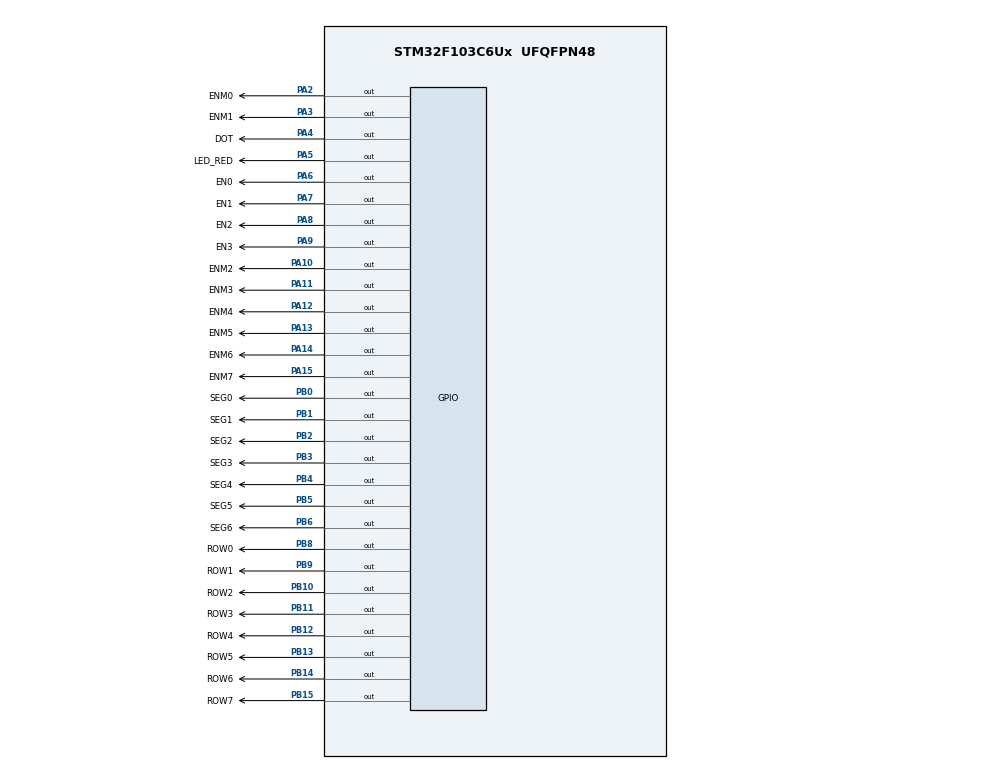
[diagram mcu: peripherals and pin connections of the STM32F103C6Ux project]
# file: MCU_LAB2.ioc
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Mcu.Family=STM32F1
Mcu.Name=STM32F103C6Ux
Mcu.Package=UFQFPN48
NVIC.PriorityGroup=NVIC_PRIORITYGROUP_4
NVIC.TIM2_IRQn=true\:0\:0\:false\:false\:true\:true\:true\:true
PA10.GPIO_Label=ENM2
PA10.Signal=GPIO_Output
PA11.GPIO_Label=ENM3
PA11.Signal=GPIO_Output
PA12.GPIO_Label=ENM4
PA12.Signal=GPIO_Output
PA13.GPIO_Label=ENM5
PA13.Signal=GPIO_Output
PA14.GPIO_Label=ENM6
PA14.Signal=GPIO_Output
PA15.GPIO_Label=ENM7
PA15.Signal=GPIO_Output
PA2.GPIO_Label=ENM0
PA2.Signal=GPIO_Output
PA3.GPIO_Label=ENM1
PA3.Signal=GPIO_Output
PA4.GPIO_Label=DOT
PA4.Signal=GPIO_Output
PA5.GPIO_Label=LED_RED
PA5.Signal=GPIO_Output
PA6.GPIO_Label=EN0
PA6.Signal=GPIO_Output
PA7.GPIO_Label=EN1
PA7.Signal=GPIO_Output
PA8.GPIO_Label=EN2
PA8.Signal=GPIO_Output
PA9.GPIO_Label=EN3
PA9.Signal=GPIO_Output
PB0.GPIO_Label=SEG0
PB0.Signal=GPIO_Output
PB1.GPIO_Label=SEG1
PB1.Signal=GPIO_Output
PB10.GPIO_Label=ROW2
PB10.Signal=GPIO_Output
PB11.GPIO_Label=ROW3
PB11.Signal=GPIO_Output
PB12.GPIO_Label=ROW4
PB12.Signal=GPIO_Output
PB13.GPIO_Label=ROW5
PB13.Signal=GPIO_Output
PB14.GPIO_Label=ROW6
PB14.Signal=GPIO_Output
PB15.GPIO_Label=ROW7
PB15.Signal=GPIO_Output
PB2.GPIO_Label=SEG2
PB2.Signal=GPIO_Output
PB3.GPIO_Label=SEG3
PB3.Signal=GPIO_Output
PB4.GPIO_Label=SEG4
PB4.Signal=GPIO_Output
PB5.GPIO_Label=SEG5
PB5.Signal=GPIO_Output
PB6.GPIO_Label=SEG6
PB6.Signal=GPIO_Output
PB8.GPIO_Label=ROW0
PB8.Signal=GPIO_Output
PB9.GPIO_Label=ROW1
PB9.Signal=GPIO_Output
ProjectManager.HeapSize=0x200
ProjectManager.StackSize=0x400
ProjectManager.TargetToolchain=STM32CubeIDE
RCC.APB1Freq_Value=8000000
RCC.APB2Freq_Value=8000000
TIM2.Period=9
TIM2.Prescaler=7999
VP_TIM2_VS_ClockSourceINT.Mode=Internal
board=custom

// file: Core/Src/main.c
/* USER CODE BEGIN Header */
/**
  ******************************************************************************
  * @file           : main.c
  * @brief          : Main program body
  ******************************************************************************
  * @attention
  *
  * Copyright (c) 2023 STMicroelectronics.
  * All rights reserved.
  *
  * This software is licensed under terms that can be found in the LICENSE file
  * in the root directory of this software component.
  * If no LICENSE file comes with this software, it is provided AS-IS.
  *
  ******************************************************************************
  */
/* USER CODE END Header */
#include "main.h"

/* USER CODE BEGIN Includes */
#include "software_timer.h"
/* USER CODE END Includes */

TIM_HandleTypeDef htim2;

void SystemClock_Config(void);
static void MX_GPIO_Init(void);
static void MX_TIM2_Init(void);
/* USER CODE BEGIN PFP */
void display7SEG(int);
void update7SEG (int);
void updateClockBuffer(int, int);
/* USER CODE END PFP */

/* USER CODE BEGIN 0 */
void display7SEG(int num){
	// 0/RESET = ON, 1/SET = OFF
	switch(num){
	case 0:
		HAL_GPIO_WritePin(GPIOB, SEG0_Pin, GPIO_PIN_RESET);
		HAL_GPIO_WritePin(GPIOB, SEG1_Pin, GPIO_PIN_RESET);
		HAL_GPIO_WritePin(GPIOB, SEG2_Pin, GPIO_PIN_RESET);
		HAL_GPIO_WritePin(GPIOB, SEG3_Pin, GPIO_PIN_RESET);
		HAL_GPIO_WritePin(GPIOB, SEG4_Pin, GPIO_PIN_RESET);
		HAL_GPIO_WritePin(GPIOB, SEG5_Pin, GPIO_PIN_RESET);
		HAL_GPIO_WritePin(GPIOB, SEG6_Pin, GPIO_PIN_SET);
		break;
	case 1:
		HAL_GPIO_WritePin(GPIOB, SEG0_Pin, GPIO_PIN_SET);
		HAL_GPIO_WritePin(GPIOB, SEG1_Pin, GPIO_PIN_RESET);
		HAL_GPIO_WritePin(GPIOB, SEG2_Pin, GPIO_PIN_RESET);
		HAL_GPIO_WritePin(GPIOB, SEG3_Pin, GPIO_PIN_SET);
		HAL_GPIO_WritePin(GPIOB, SEG4_Pin, GPIO_PIN_SET);
		HAL_GPIO_WritePin(GPIOB, SEG5_Pin, GPIO_PIN_SET);
		HAL_GPIO_WritePin(GPIOB, SEG6_Pin, GPIO_PIN_SET);
		break;
	case 2:
		HAL_GPIO_WritePin(GPIOB, SEG0_Pin, GPIO_PIN_RESET);
		HAL_GPIO_WritePin(GPIOB, SEG1_Pin, GPIO_PIN_RESET);
		HAL_GPIO_WritePin(GPIOB, SEG2_Pin, GPIO_PIN_SET);
		HAL_GPIO_WritePin(GPIOB, SEG3_Pin, GPIO_PIN_RESET);
		HAL_GPIO_WritePin(GPIOB, SEG4_Pin, GPIO_PIN_RESET);
		HAL_GPIO_WritePin(GPIOB, SEG5_Pin, GPIO_PIN_SET);
		HAL_GPIO_WritePin(GPIOB, SEG6_Pin, GPIO_PIN_RESET);
		break;
	case 3:
		HAL_GPIO_WritePin(GPIOB, SEG0_Pin, GPIO_PIN_RESET);
		HAL_GPIO_WritePin(GPIOB, SEG1_Pin, GPIO_PIN_RESET);
		HAL_GPIO_WritePin(GPIOB, SEG2_Pin, GPIO_PIN_RESET);
		HAL_GPIO_WritePin(GPIOB, SEG3_Pin, GPIO_PIN_RESET);
		HAL_GPIO_WritePin(GPIOB, SEG4_Pin, GPIO_PIN_SET);
		HAL_GPIO_WritePin(GPIOB, SEG5_Pin, GPIO_PIN_SET);
		HAL_GPIO_WritePin(GPIOB, SEG6_Pin, GPIO_PIN_RESET);
		break;
	case 4:
		HAL_GPIO_WritePin(GPIOB, SEG0_Pin, GPIO_PIN_SET);
		HAL_GPIO_WritePin(GPIOB, SEG1_Pin, GPIO_PIN_RESET);
		HAL_GPIO_WritePin(GPIOB, SEG2_Pin, GPIO_PIN_RESET);
		HAL_GPIO_WritePin(GPIOB, SEG3_Pin, GPIO_PIN_SET);
		HAL_GPIO_WritePin(GPIOB, SEG4_Pin, GPIO_PIN_SET);
		HAL_GPIO_WritePin(GPIOB, SEG5_Pin, GPIO_PIN_RESET);
		HAL_GPIO_WritePin(GPIOB, SEG6_Pin, GPIO_PIN_RESET);
		break;
	case 5:
		HAL_GPIO_WritePin(GPIOB, SEG0_Pin, GPIO_PIN_RESET);
		HAL_GPIO_WritePin(GPIOB, SEG1_Pin, GPIO_PIN_SET);
		HAL_GPIO_WritePin(GPIOB, SEG2_Pin, GPIO_PIN_RESET);
		HAL_GPIO_WritePin(GPIOB, SEG3_Pin, GPIO_PIN_RESET);
		HAL_GPIO_WritePin(GPIOB, SEG4_Pin, GPIO_PIN_SET);
		HAL_GPIO_WritePin(GPIOB, SEG5_Pin, GPIO_PIN_RESET);
		HAL_GPIO_WritePin(GPIOB, SEG6_Pin, GPIO_PIN_RESET);
		break;
	case 6:
		HAL_GPIO_WritePin(GPIOB, SEG0_Pin, GPIO_PIN_RESET);
		HAL_GPIO_WritePin(GPIOB, SEG1_Pin, GPIO_PIN_SET);
		HAL_GPIO_WritePin(GPIOB, SEG2_Pin, GPIO_PIN_RESET);
		HAL_GPIO_WritePin(GPIOB, SEG3_Pin, GPIO_PIN_RESET);
		HAL_GPIO_WritePin(GPIOB, SEG4_Pin, GPIO_PIN_RESET);
		HAL_GPIO_WritePin(GPIOB, SEG5_Pin, GPIO_PIN_RESET);
		HAL_GPIO_WritePin(GPIOB, SEG6_Pin, GPIO_PIN_RESET);
		break;
	case 7:
		HAL_GPIO_WritePin(GPIOB, SEG0_Pin, GPIO_PIN_RESET);
		HAL_GPIO_WritePin(GPIOB, SEG1_Pin, GPIO_PIN_RESET);
		HAL_GPIO_WritePin(GPIOB, SEG2_Pin, GPIO_PIN_RESET);
		HAL_GPIO_WritePin(GPIOB, SEG3_Pin, GPIO_PIN_SET);
		HAL_GPIO_WritePin(GPIOB, SEG4_Pin, GPIO_PIN_SET);
		HAL_GPIO_WritePin(GPIOB, SEG5_Pin, GPIO_PIN_SET);
		HAL_GPIO_WritePin(GPIOB, SEG6_Pin, GPIO_PIN_RESET);
		break;
	case 8:
		HAL_GPIO_WritePin(GPIOB, SEG0_Pin, GPIO_PIN_RESET);
		HAL_GPIO_WritePin(GPIOB, SEG1_Pin, GPIO_PIN_RESET);
		HAL_GPIO_WritePin(GPIOB, SEG2_Pin, GPIO_PIN_RESET);
		HAL_GPIO_WritePin(GPIOB, SEG3_Pin, GPIO_PIN_RESET);
		HAL_GPIO_WritePin(GPIOB, SEG4_Pin, GPIO_PIN_RESET);
		HAL_GPIO_WritePin(GPIOB, SEG5_Pin, GPIO_PIN_RESET);
		HAL_GPIO_WritePin(GPIOB, SEG6_Pin, GPIO_PIN_RESET);
		break;
	case 9:
		HAL_GPIO_WritePin(GPIOB, SEG0_Pin, GPIO_PIN_RESET);
		HAL_GPIO_WritePin(GPIOB, SEG1_Pin, GPIO_PIN_RESET);
		HAL_GPIO_WritePin(GPIOB, SEG2_Pin, GPIO_PIN_RESET);
		HAL_GPIO_WritePin(GPIOB, SEG3_Pin, GPIO_PIN_RESET);
		HAL_GPIO_WritePin(GPIOB, SEG4_Pin, GPIO_PIN_SET);
		HAL_GPIO_WritePin(GPIOB, SEG5_Pin, GPIO_PIN_RESET);
		HAL_GPIO_WritePin(GPIOB, SEG6_Pin, GPIO_PIN_RESET);
		break;
	default: //OFF
		HAL_GPIO_WritePin(GPIOB, SEG0_Pin, GPIO_PIN_SET);
		HAL_GPIO_WritePin(GPIOB, SEG1_Pin, GPIO_PIN_SET);
		HAL_GPIO_WritePin(GPIOB, SEG2_Pin, GPIO_PIN_SET);
		HAL_GPIO_WritePin(GPIOB, SEG3_Pin, GPIO_PIN_SET);
		HAL_GPIO_WritePin(GPIOB, SEG4_Pin, GPIO_PIN_SET);
		HAL_GPIO_WritePin(GPIOB, SEG5_Pin, GPIO_PIN_SET);
		HAL_GPIO_WritePin(GPIOB, SEG6_Pin, GPIO_PIN_SET);
		break;
	}
}

/* USER CODE END 0 */

int main(void)
{

  /* MCU Configuration--------------------------------------------------------*/

  /* Reset of all peripherals, Initializes the Flash interface and the Systick. */
  HAL_Init();

  /* Configure the system clock */
  SystemClock_Config();

  /* Initialize all configured peripherals */
  MX_GPIO_Init();
  MX_TIM2_Init();
  /* USER CODE BEGIN 2 */
  //7SEG
  HAL_TIM_Base_Start_IT(&htim2);
  const int MAX_LED = 4;
  int index_led = 0;
  int led_buffer [4] = {1 , 2 , 3 , 4};
  void update7SEG(int index){
  	switch(index){
	  case 0:
		  display7SEG(led_buffer[index]);
		  HAL_GPIO_WritePin(EN0_GPIO_Port, EN0_Pin, GPIO_PIN_RESET);
		  HAL_GPIO_WritePin(EN1_GPIO_Port, EN1_Pin, GPIO_PIN_SET);
		  HAL_GPIO_WritePin(EN1_GPIO_Port, EN2_Pin, GPIO_PIN_SET);
		  HAL_GPIO_WritePin(EN1_GPIO_Port, EN3_Pin, GPIO_PIN_SET);
		  break;
	  case 1:
		  display7SEG(led_buffer[index]);
		  HAL_GPIO_WritePin(EN0_GPIO_Port, EN0_Pin, GPIO_PIN_SET);
		  HAL_GPIO_WritePin(EN1_GPIO_Port, EN1_Pin, GPIO_PIN_RESET);
		  HAL_GPIO_WritePin(EN1_GPIO_Port, EN2_Pin, GPIO_PIN_SET);
		  HAL_GPIO_WritePin(EN1_GPIO_Port, EN3_Pin, GPIO_PIN_SET);
		  break;
	  case 2:
		  display7SEG(led_buffer[index]);
		  HAL_GPIO_WritePin(EN0_GPIO_Port, EN0_Pin, GPIO_PIN_SET);
		  HAL_GPIO_WritePin(EN1_GPIO_Port, EN1_Pin, GPIO_PIN_SET);
		  HAL_GPIO_WritePin(EN1_GPIO_Port, EN2_Pin, GPIO_PIN_RESET);
		  HAL_GPIO_WritePin(EN1_GPIO_Port, EN3_Pin, GPIO_PIN_SET);
		  break;
	  case 3:
		  display7SEG(led_buffer[index]);
		  HAL_GPIO_WritePin(EN0_GPIO_Port, EN0_Pin, GPIO_PIN_SET);
		  HAL_GPIO_WritePin(EN1_GPIO_Port, EN1_Pin, GPIO_PIN_SET);
		  HAL_GPIO_WritePin(EN1_GPIO_Port, EN2_Pin, GPIO_PIN_SET);
		  HAL_GPIO_WritePin(EN1_GPIO_Port, EN3_Pin, GPIO_PIN_RESET);
		  break;
	  default:
		  break;
	  }
  }

  void updateClockBuffer(int hour, int minute){
  	led_buffer[0] = hour / 10;
  	led_buffer[1] = hour % 10;
  	led_buffer[2] = minute / 10;
  	led_buffer[3] = minute % 10;
  }

  /*------MATRIX------*/
  const int MAX_LED_MATRIX = 8;
  int index_led_matrix = 0;
  uint8_t matrix_buffer [8] = {0x00, 0x3E, 0x48, 0x88, 0x88, 0x48, 0x3E, 0x00};
  uint16_t cols[8] = {ENM0_Pin, ENM1_Pin, ENM2_Pin, ENM3_Pin, ENM4_Pin, ENM5_Pin, ENM6_Pin, ENM7_Pin};
  uint16_t rows[8] = {ROW0_Pin, ROW1_Pin, ROW2_Pin, ROW3_Pin, ROW4_Pin, ROW5_Pin, ROW6_Pin, ROW7_Pin};

  void clearMatrix(){
	  for(int i = 0; i < MAX_LED_MATRIX; i++){
		  //cols
		  HAL_GPIO_WritePin(GPIOA, cols[i], GPIO_PIN_SET);
		  //rows
		  HAL_GPIO_WritePin(GPIOB, rows[i], GPIO_PIN_SET);
	  }
  }

  void setRowMatrix(uint8_t row){
	  for(int i = 0; i < MAX_LED_MATRIX; i++){
          if((row >> i) & 1){
              HAL_GPIO_WritePin(GPIOB, rows[MAX_LED_MATRIX - i - 1], GPIO_PIN_RESET);
         }
	  }
  }

  void circularRightShiftMatrix(uint8_t matrix) {
      uint8_t temp = matrix_buffer[MAX_LED_MATRIX - 1]; //store the last element
      for(int i = MAX_LED_MATRIX - 1; i > 0; i--){
          matrix_buffer[i] = matrix_buffer[i - 1]; // shift each element to the right
      }
      matrix_buffer[0] = temp; // set the first element to the last
  }

  void updateLEDMatrix(int index){
	  clearMatrix();
	  switch(index){
	  case 0:
		  HAL_GPIO_WritePin(ENM0_GPIO_Port, ENM0_Pin, GPIO_PIN_RESET);
		  break;
	  case 1:
		  HAL_GPIO_WritePin(ENM1_GPIO_Port, ENM1_Pin, GPIO_PIN_RESET);
		  break;
	  case 2:
		  HAL_GPIO_WritePin(ENM2_GPIO_Port, ENM2_Pin, GPIO_PIN_RESET);
		  break;
	  case 3:
		  HAL_GPIO_WritePin(ENM3_GPIO_Port, ENM3_Pin, GPIO_PIN_RESET);
		  break;
	  case 4:
		  HAL_GPIO_WritePin(ENM4_GPIO_Port, ENM4_Pin, GPIO_PIN_RESET);
		  break;
	  case 5:
		  HAL_GPIO_WritePin(ENM5_GPIO_Port, ENM5_Pin, GPIO_PIN_RESET);
		  break;
	  case 6:
		  HAL_GPIO_WritePin(ENM6_GPIO_Port, ENM6_Pin, GPIO_PIN_RESET);
		  break;
	  case 7:
		  HAL_GPIO_WritePin(ENM7_GPIO_Port, ENM7_Pin, GPIO_PIN_RESET);
		  break;
	  default:
		  break;
	  }
	  setRowMatrix(matrix_buffer[index]);
	  if(index == 7) circularRightShiftMatrix(matrix_buffer);

  }
  /*------MATRIX------*/
  /* USER CODE END 2 */

  /* Infinite loop */
  /* USER CODE BEGIN WHILE */
  setTimer(10, 0);
  setTimer(15, 1);
  setTimer(20, 2);
  setTimer(100, 3);
  int hour = 15, minute = 8, second = 50;
  while (1)
  {
	  //CLOCK
	  if(timer_flag[0] == 1){
		  if(second >= 60){
			  second = 0;
			  minute++;
		  }
		  if(minute >= 60){
			  minute = 0;
			  hour++;
		  }
		  if(hour >= 24){
			  hour = 0;
		  }
		  second++;
		  updateClockBuffer(hour, minute);
		  setTimer(100, 0);
	  }
	  //7SEG
	  if(timer_flag[2] == 1){
		  update7SEG(index_led);
		  if(index_led >= 3){
			  index_led = 0;
		  }
		  else{
			  index_led++;
		  }
		  setTimer(50, 2);
	  }
	  //LED
	  if(timer_flag[1] == 1){
		  HAL_GPIO_TogglePin(GPIOA, LED_RED_Pin);
		  HAL_GPIO_TogglePin(GPIOA, DOT_Pin);
		  setTimer(100, 1);
	  }
	  //MATRIX
	  if(timer_flag[3] == 1){
		  updateLEDMatrix(index_led_matrix++);
		  if(index_led_matrix == MAX_LED_MATRIX){
			  index_led_matrix = 0;
		  }
		  setTimer(20, 3);
	  }
    /* USER CODE END WHILE */

  }
}

void SystemClock_Config(void)
{
  RCC_OscInitTypeDef RCC_OscInitStruct = {0};
  RCC_ClkInitTypeDef RCC_ClkInitStruct = {0};

  /** Initializes the RCC Oscillators according to the specified parameters
  * in the RCC_OscInitTypeDef structure.
  */
  RCC_OscInitStruct.OscillatorType = RCC_OSCILLATORTYPE_HSI;
  RCC_OscInitStruct.HSIState = RCC_HSI_ON;
  RCC_OscInitStruct.HSICalibrationValue = RCC_HSICALIBRATION_DEFAULT;
  RCC_OscInitStruct.PLL.PLLState = RCC_PLL_NONE;
  if (HAL_RCC_OscConfig(&RCC_OscInitStruct) != HAL_OK)
  {
    Error_Handler();
  }

  /** Initializes the CPU, AHB and APB buses clocks
  */
  RCC_ClkInitStruct.ClockType = RCC_CLOCKTYPE_HCLK|RCC_CLOCKTYPE_SYSCLK
                              |RCC_CLOCKTYPE_PCLK1|RCC_CLOCKTYPE_PCLK2;
  RCC_ClkInitStruct.SYSCLKSource = RCC_SYSCLKSOURCE_HSI;
  RCC_ClkInitStruct.AHBCLKDivider = RCC_SYSCLK_DIV1;
  RCC_ClkInitStruct.APB1CLKDivider = RCC_HCLK_DIV1;
  RCC_ClkInitStruct.APB2CLKDivider = RCC_HCLK_DIV1;

  if (HAL_RCC_ClockConfig(&RCC_ClkInitStruct, FLASH_LATENCY_0) != HAL_OK)
  {
    Error_Handler();
  }
}

static void MX_TIM2_Init(void)
{

  TIM_ClockConfigTypeDef sClockSourceConfig = {0};
  TIM_MasterConfigTypeDef sMasterConfig = {0};

  htim2.Instance = TIM2;
  htim2.Init.Prescaler = 7999;
  htim2.Init.CounterMode = TIM_COUNTERMODE_UP;
  htim2.Init.Period = 9;
  htim2.Init.ClockDivision = TIM_CLOCKDIVISION_DIV1;
  htim2.Init.AutoReloadPreload = TIM_AUTORELOAD_PRELOAD_DISABLE;
  if (HAL_TIM_Base_Init(&htim2) != HAL_OK)
  {
    Error_Handler();
  }
  sClockSourceConfig.ClockSource = TIM_CLOCKSOURCE_INTERNAL;
  if (HAL_TIM_ConfigClockSource(&htim2, &sClockSourceConfig) != HAL_OK)
  {
    Error_Handler();
  }
  sMasterConfig.MasterOutputTrigger = TIM_TRGO_RESET;
  sMasterConfig.MasterSlaveMode = TIM_MASTERSLAVEMODE_DISABLE;
  if (HAL_TIMEx_MasterConfigSynchronization(&htim2, &sMasterConfig) != HAL_OK)
  {
    Error_Handler();
  }

}

static void MX_GPIO_Init(void)
{
  GPIO_InitTypeDef GPIO_InitStruct = {0};

  /* GPIO Ports Clock Enable */
  __HAL_RCC_GPIOA_CLK_ENABLE();
  __HAL_RCC_GPIOB_CLK_ENABLE();

  /*Configure GPIO pin Output Level */
  HAL_GPIO_WritePin(GPIOA, ENM0_Pin|ENM1_Pin|DOT_Pin|LED_RED_Pin
                          |EN0_Pin|EN1_Pin|EN2_Pin|EN3_Pin
                          |ENM2_Pin|ENM3_Pin|ENM4_Pin|ENM5_Pin
                          |ENM6_Pin|ENM7_Pin, GPIO_PIN_RESET);

  /*Configure GPIO pin Output Level */
  HAL_GPIO_WritePin(GPIOB, SEG0_Pin|SEG1_Pin|SEG2_Pin|ROW2_Pin
                          |ROW3_Pin|ROW4_Pin|ROW5_Pin|ROW6_Pin
                          |ROW7_Pin|SEG3_Pin|SEG4_Pin|SEG5_Pin
                          |SEG6_Pin|ROW0_Pin|ROW1_Pin, GPIO_PIN_RESET);

  /*Configure GPIO pins : ENM0_Pin ENM1_Pin DOT_Pin LED_RED_Pin
                           EN0_Pin EN1_Pin EN2_Pin EN3_Pin
                           ENM2_Pin ENM3_Pin ENM4_Pin ENM5_Pin
                           ENM6_Pin ENM7_Pin */
  GPIO_InitStruct.Pin = ENM0_Pin|ENM1_Pin|DOT_Pin|LED_RED_Pin
                          |EN0_Pin|EN1_Pin|EN2_Pin|EN3_Pin
                          |ENM2_Pin|ENM3_Pin|ENM4_Pin|ENM5_Pin
                          |ENM6_Pin|ENM7_Pin;
  GPIO_InitStruct.Mode = GPIO_MODE_OUTPUT_PP;
  GPIO_InitStruct.Pull = GPIO_NOPULL;
  GPIO_InitStruct.Speed = GPIO_SPEED_FREQ_LOW;
  HAL_GPIO_Init(GPIOA, &GPIO_InitStruct);

  /*Configure GPIO pins : SEG0_Pin SEG1_Pin SEG2_Pin ROW2_Pin
                           ROW3_Pin ROW4_Pin ROW5_Pin ROW6_Pin
                           ROW7_Pin SEG3_Pin SEG4_Pin SEG5_Pin
                           SEG6_Pin ROW0_Pin ROW1_Pin */
  GPIO_InitStruct.Pin = SEG0_Pin|SEG1_Pin|SEG2_Pin|ROW2_Pin
                          |ROW3_Pin|ROW4_Pin|ROW5_Pin|ROW6_Pin
                          |ROW7_Pin|SEG3_Pin|SEG4_Pin|SEG5_Pin
                          |SEG6_Pin|ROW0_Pin|ROW1_Pin;
  GPIO_InitStruct.Mode = GPIO_MODE_OUTPUT_PP;
  GPIO_InitStruct.Pull = GPIO_NOPULL;
  GPIO_InitStruct.Speed = GPIO_SPEED_FREQ_LOW;
  HAL_GPIO_Init(GPIOB, &GPIO_InitStruct);

}

/* USER CODE BEGIN 4 */
void HAL_TIM_PeriodElapsedCallback(TIM_HandleTypeDef *htim){
	timerRun(0);	//Clock
	timerRun(1);	//LED
	timerRun(2);	//7-SEG
	timerRun(3); 	//Matrix
}
/* USER CODE END 4 */

void Error_Handler(void)
{
  __disable_irq();
  while (1)
  {
  }
}
